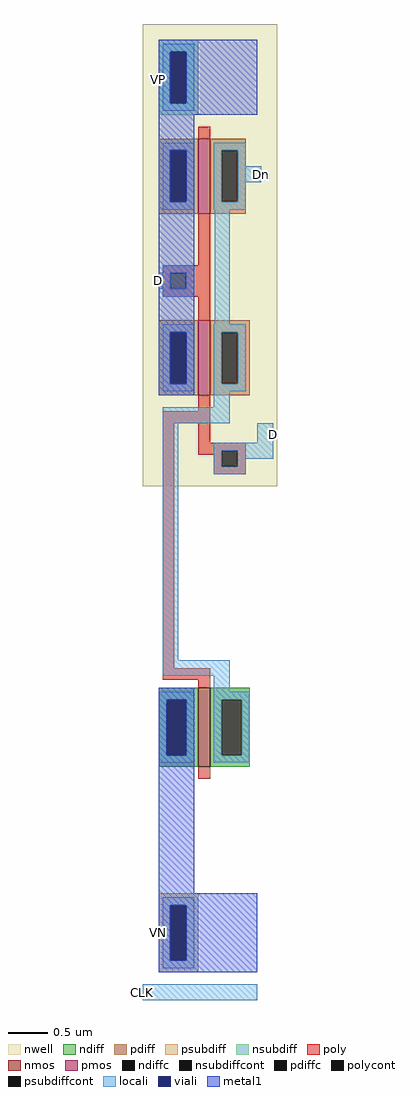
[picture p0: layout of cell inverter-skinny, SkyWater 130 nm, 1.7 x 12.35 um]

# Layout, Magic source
magic
tech sky130A
<< nwell >>
rect -190 655 -20 1240
<< nmos >>
rect -120 300 -105 400
<< pmos >>
rect -120 1000 -105 1095
rect -120 770 -105 865
<< ndiff >>
rect -170 385 -120 400
rect -170 315 -160 385
rect -135 315 -120 385
rect -170 300 -120 315
rect -105 385 -55 400
rect -105 315 -90 385
rect -65 315 -55 385
rect -105 300 -55 315
<< pdiff >>
rect -170 1080 -120 1095
rect -170 1015 -155 1080
rect -135 1015 -120 1080
rect -170 1000 -120 1015
rect -105 1080 -60 1095
rect -105 1015 -90 1080
rect -70 1015 -60 1080
rect -105 1000 -60 1015
rect -170 850 -120 865
rect -170 785 -155 850
rect -135 785 -120 850
rect -170 770 -120 785
rect -105 850 -55 865
rect -105 785 -90 850
rect -70 785 -55 850
rect -105 770 -55 785
<< ndiffc >>
rect -160 315 -135 385
rect -90 315 -65 385
<< pdiffc >>
rect -155 1015 -135 1080
rect -90 1015 -70 1080
rect -155 785 -135 850
rect -90 785 -70 850
<< psubdiff >>
rect -170 125 -120 140
rect -170 55 -155 125
rect -135 55 -120 125
rect -170 40 -120 55
<< nsubdiff >>
rect -170 1205 -120 1220
rect -170 1140 -155 1205
rect -135 1140 -120 1205
rect -170 1125 -120 1140
<< psubdiffcont >>
rect -155 55 -135 125
<< nsubdiffcont >>
rect -155 1140 -135 1205
<< poly >>
rect -120 1095 -105 1110
rect -120 935 -105 1000
rect -165 925 -105 935
rect -165 905 -155 925
rect -135 905 -105 925
rect -165 895 -105 905
rect -120 865 -105 895
rect -120 750 -105 770
rect -165 735 -105 750
rect -165 425 -150 735
rect -120 710 -105 735
rect -120 700 -60 710
rect -120 695 -90 700
rect -100 680 -90 695
rect -70 680 -60 700
rect -100 670 -60 680
rect -165 410 -105 425
rect -120 400 -105 410
rect -120 285 -105 300
<< polycont >>
rect -155 905 -135 925
rect -90 680 -70 700
<< locali >>
rect -165 1205 -125 1215
rect -165 1140 -155 1205
rect -135 1140 -125 1205
rect -165 1130 -125 1140
rect -165 1080 -125 1090
rect -165 1015 -155 1080
rect -135 1015 -125 1080
rect -165 1005 -125 1015
rect -100 1080 -60 1090
rect -100 1015 -90 1080
rect -70 1060 -60 1080
rect -70 1040 -40 1060
rect -70 1015 -60 1040
rect -100 1005 -60 1015
rect -165 925 -125 935
rect -170 905 -155 925
rect -135 905 -125 925
rect -165 895 -125 905
rect -99 860 -80 1005
rect -165 850 -125 860
rect -165 785 -155 850
rect -135 785 -125 850
rect -165 775 -125 785
rect -100 850 -60 860
rect -100 785 -90 850
rect -70 785 -60 850
rect -100 775 -60 785
rect -100 755 -80 775
rect -165 735 -80 755
rect -165 435 -145 735
rect -45 710 -25 735
rect -100 700 -25 710
rect -100 680 -90 700
rect -70 690 -25 700
rect -70 680 -60 690
rect -100 670 -60 680
rect -165 415 -80 435
rect -100 395 -80 415
rect -170 385 -125 395
rect -170 315 -160 385
rect -135 315 -125 385
rect -170 305 -125 315
rect -100 385 -55 395
rect -100 315 -90 385
rect -65 315 -55 385
rect -100 305 -55 315
rect -165 125 -125 135
rect -165 55 -155 125
rect -135 55 -125 125
rect -165 45 -125 55
rect -190 5 -45 25
<< viali >>
rect -155 1140 -135 1205
rect -155 1015 -135 1080
rect -155 785 -135 850
rect -160 315 -135 385
rect -155 55 -135 125
<< metal1 >>
rect -170 1205 -45 1220
rect -170 1140 -155 1205
rect -135 1140 -45 1205
rect -170 1125 -45 1140
rect -170 1080 -125 1125
rect -170 1015 -155 1080
rect -135 1015 -125 1080
rect -170 850 -125 1015
rect -170 785 -155 850
rect -135 785 -125 850
rect -170 770 -125 785
rect -170 385 -125 400
rect -170 315 -160 385
rect -135 315 -125 385
rect -170 140 -125 315
rect -170 125 -45 140
rect -170 55 -155 125
rect -135 55 -45 125
rect -170 40 -45 55
<< labels >>
rlabel metal1 -170 1170 -170 1170 7 VP
port 1 w
rlabel locali -170 915 -170 915 7 D
port 2 w
rlabel metal1 -170 90 -170 90 7 VN
port 3 w
rlabel locali -190 15 -190 15 7 CLK
port 4 w
rlabel locali -25 720 -25 720 3 D
port 5 e
rlabel locali -40 1050 -40 1050 3 Dn
port 6 e
<< end >>
